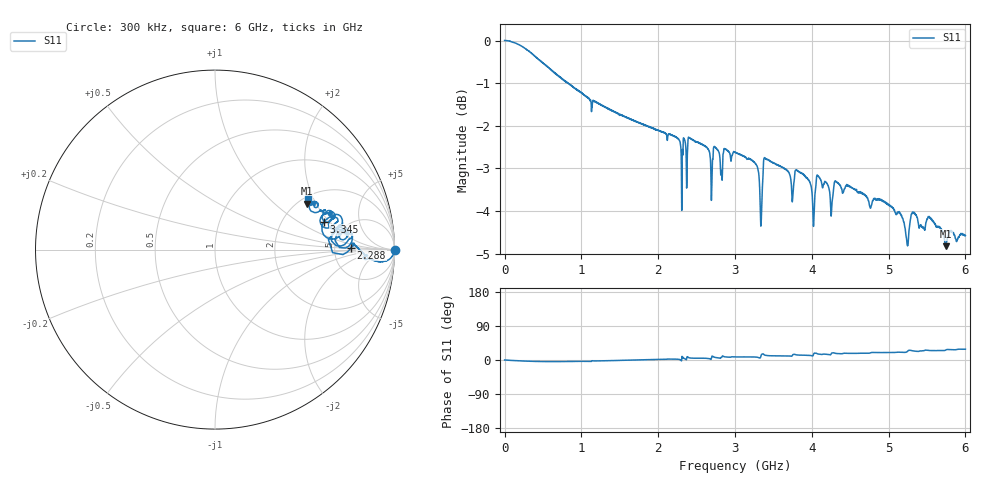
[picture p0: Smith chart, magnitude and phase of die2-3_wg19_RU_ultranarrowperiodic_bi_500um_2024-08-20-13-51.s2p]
!Keysight Technologies,P9374A,MY57304198,A.17.20.09
!Date: Tuesday, August 20, 2024 13:51:33
!Correction: S11(C  1-Port  )
!S21(C  1-Port  )
!S12(Off)
!S22(Off)
!S2P File: Measurements: S11, S21, S12, S22:
# Hz S  dB  R 50
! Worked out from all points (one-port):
!   6000 points, 300 kHz to 6 GHz, reference 50 ohm
!   lowest |S11| = -4.8 dB at 5.744 GHz (marker M1), VSWR 3.69, Z = 111 + j84.6 ohm
!   |S11| at or under -10 dB: nowhere
!   S11 on the Smith chart (normalised r, x): 300 kHz: open; 2.288 GHz: 7.24, +0.38; 3.345 GHz: 3.40, +1.72; 6 GHz: 2.10, +1.81
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300000  0.00 -0.0  -200.00 45.0  -200.00 45.0  -200.00 45.0
4.20349e8  -0.40 -3.8  -200.00 45.0  -200.00 45.0  -200.00 45.0
1.000417e9  -1.24 -3.5  -200.00 45.0  -200.00 45.0  -200.00 45.0
2.000533e9  -2.11 1.5  -200.00 45.0  -200.00 45.0  -200.00 45.0
2.287567e9  -2.41 0.8  -200.00 45.0  -200.00 45.0  -200.00 45.0
2.40158e9  -2.28 5.8  -200.00 45.0  -200.00 45.0  -200.00 45.0
2.662611e9  -2.59 3.8  -200.00 45.0  -200.00 45.0  -200.00 45.0
2.724618e9  -2.50 7.9  -200.00 45.0  -200.00 45.0  -200.00 45.0
3.00065e9  -2.62 8.1  -200.00 45.0  -200.00 45.0  -200.00 45.0
3.305686e9  -3.08 6.5  -200.00 45.0  -200.00 45.0  -200.00 45.0
3.34469e9  -4.08 14.3  -200.00 45.0  -200.00 45.0  -200.00 45.0
3.372693e9  -2.82 15.1  -200.00 45.0  -200.00 45.0  -200.00 45.0
3.417699e9  -2.79 11.8  -200.00 45.0  -200.00 45.0  -200.00 45.0
4.000767e9  -3.54 11.3  -200.00 45.0  -200.00 45.0  -200.00 45.0
4.057773e9  -3.28 17.9  -200.00 45.0  -200.00 45.0  -200.00 45.0
4.221793e9  -3.46 14.3  -200.00 45.0  -200.00 45.0  -200.00 45.0
4.2898e9  -3.39 18.7  -200.00 45.0  -200.00 45.0  -200.00 45.0
5.000883e9  -3.86 19.8  -200.00 45.0  -200.00 45.0  -200.00 45.0
5.249912e9  -4.81 23.7  -200.00 45.0  -200.00 45.0  -200.00 45.0
5.345924e9  -4.07 23.3  -200.00 45.0  -200.00 45.0  -200.00 45.0
5.74397e9  -4.83 26.4  -200.00 45.0  -200.00 45.0  -200.00 45.0
6e9  -4.58 28.5  -200.00 45.0  -200.00 45.0  -200.00 45.0
